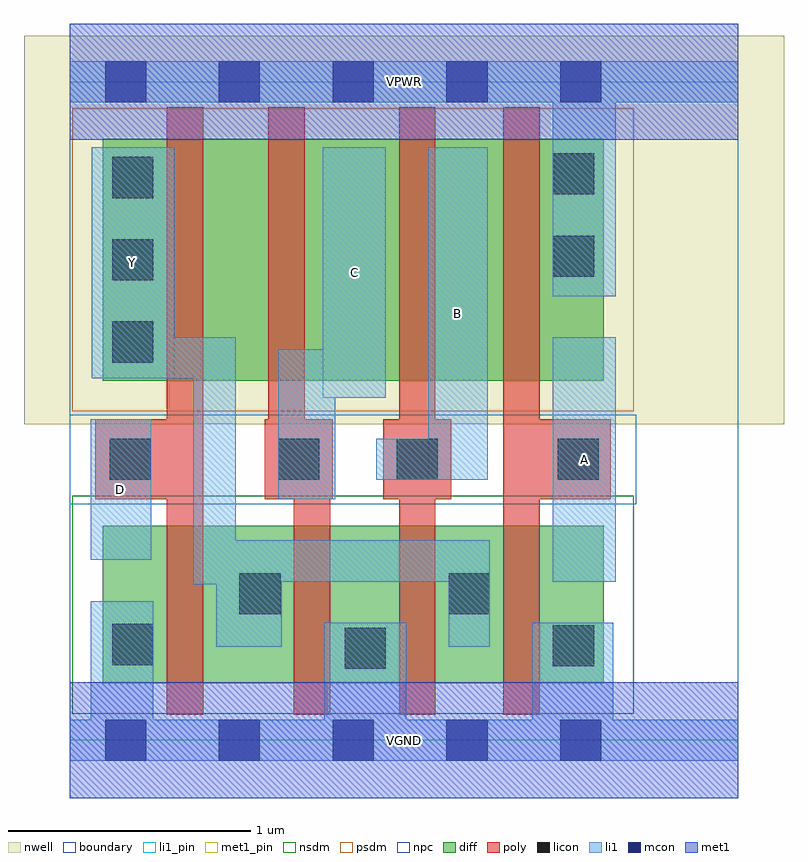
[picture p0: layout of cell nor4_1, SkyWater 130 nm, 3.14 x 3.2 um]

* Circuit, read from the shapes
.subckt nor4_1 A B C D VGND VPWR Y
XM1 Y D VGND VSUBS sky130_fd_pr__nfet_01v8 w=0.65 l=0.15
XM2 VGND C Y VSUBS sky130_fd_pr__nfet_01v8 w=0.65 l=0.15
XM3 Y B VGND VSUBS sky130_fd_pr__nfet_01v8 w=0.65 l=0.15
XM4 VGND A Y VSUBS sky130_fd_pr__nfet_01v8 w=0.65 l=0.15
XM5 n1 D Y n2 sky130_fd_pr__pfet_01v8 w=1 l=0.15
XM6 n3 C n1 n2 sky130_fd_pr__pfet_01v8 w=1 l=0.15
XM7 n4 B n3 n2 sky130_fd_pr__pfet_01v8 w=1 l=0.15
XM8 VPWR A n4 n2 sky130_fd_pr__pfet_01v8 w=1 l=0.15
.ends

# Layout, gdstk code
import gdstk
lib = gdstk.Library(unit=1e-6, precision=1e-09)
def R(c, l, rs):  # rectangles x0, y0, x1, y1
    for r in rs: c.add(gdstk.rectangle(r[:2], r[2:], *l))
def A(c, l, x, y, w, h, nx, ny, dx, dy):  # array of equal rectangles
    R(c, l, [(x+i*dx, y+j*dy, x+i*dx+w, y+j*dy+h) for i in range(nx) for j in range(ny)])
nwell = (64, 20)
diff = (65, 20)
poly = (66, 20)
licon = (66, 44)
li1_pin = (67, 16)
li1 = (67, 20)
mcon = (67, 44)
met1_pin = (68, 16)
met1 = (68, 20)
nsdm = (93, 44)
psdm = (94, 20)
npc = (95, 20)
boundary = (235, 4)

nor4_1 = lib.new_cell('nor4_1')
R(nor4_1, nwell, [(-0.19,1.305,2.95,2.91), (0,1.305,2.76,2.91)])
R(nor4_1, diff, [(0.135,0.235,2.205,0.885), (0.135,1.485,2.205,2.485)])
R(nor4_1, poly, [(0.4,0.105,0.55,2.615), (0.925,0.105,1.075,1.325), (1.36,0.105,1.51,2.615), (1.79,0.105,1.94,2.615), (0.105,0.995,0.55,1.325), (0.805,0.995,1.085,1.325), (0.82,0.995,0.97,2.615), (1.295,0.995,1.575,1.325), (1.79,0.995,2.235,1.325)])
A(nor4_1, licon, 0.175, 1.56, 0.17, 0.17, 1, 3, 0, 0.34)
R(nor4_1, licon, [(1.135,0.295,1.305,0.465), (1.995,0.305,2.165,0.475), (0.175,0.31,0.345,0.48), (0.7,0.52,0.87,0.69), (1.565,0.52,1.735,0.69), (0.165,1.075,0.335,1.245), (0.86,1.075,1.03,1.245), (1.35,1.075,1.52,1.245), (2.015,1.075,2.185,1.245), (1.995,1.915,2.165,2.085), (1.995,2.255,2.165,2.425)])
R(nor4_1, li1_pin, [(1.995,0.655,2.255,1.665), (0.085,0.745,0.335,1.325), (1.48,1.075,1.725,2.45), (1.045,1.415,1.305,2.45), (0.09,1.495,0.43,2.45)])
R(nor4_1, li1, [(0,-0.085,2.76,0.085), (0.085,-0.085,0.345,0.575), (1.05,-0.085,1.39,0.485), (1.91,-0.085,2.245,0.485), (0.605,0.385,0.875,0.825), (1.565,0.385,1.735,0.825), (0.51,0.645,0.685,1.665), (0.51,0.655,1.735,0.825), (1.995,0.655,2.255,1.665), (0.085,0.745,0.335,1.325), (0.86,0.995,1.095,1.615), (1.265,1.075,1.725,1.245), (1.48,1.075,1.725,2.45), (1.045,1.415,1.305,2.45), (0.09,1.495,0.43,2.45), (0.09,1.495,0.685,1.665), (1.995,1.835,2.255,2.805), (0,2.635,2.76,2.805)])
A(nor4_1, mcon, 0.145, -0.085, 0.17, 0.17, 5, 2, 0.47, 2.72)
R(nor4_1, met1_pin, [(0,-0.24,2.76,0.24), (0,2.48,2.76,2.96)])
R(nor4_1, met1, [(0,-0.24,2.76,0.24), (0,2.48,2.76,2.96)])
R(nor4_1, nsdm, [(0.01,0.11,2.33,1.01)])
R(nor4_1, psdm, [(0.01,1.36,2.33,2.61)])
R(nor4_1, npc, [(0,0.975,2.34,1.345)])
R(nor4_1, boundary, [(0,0,2.76,2.72)])
nor4_1.add(gdstk.Label('A', (2.125,1.16), layer=67, texttype=5))
nor4_1.add(gdstk.Label('B', (1.602,1.762), layer=67, texttype=5))
nor4_1.add(gdstk.Label('C', (1.175,1.932), layer=67, texttype=5))
nor4_1.add(gdstk.Label('D', (0.21,1.035), layer=67, texttype=5))
nor4_1.add(gdstk.Label('Y', (0.26,1.972), layer=67, texttype=5))
nor4_1.add(gdstk.Label('VPWR', (1.38,2.72), layer=68, texttype=5))
nor4_1.add(gdstk.Label('VGND', (1.38,0), layer=68, texttype=5))
nor4_1.add(gdstk.Label('A', (2.125,1.16), layer=67, texttype=16))
nor4_1.add(gdstk.Label('B', (1.602,1.762), layer=67, texttype=16))
nor4_1.add(gdstk.Label('C', (1.175,1.932), layer=67, texttype=16))
nor4_1.add(gdstk.Label('D', (0.21,1.035), layer=67, texttype=16))
nor4_1.add(gdstk.Label('Y', (0.26,1.972), layer=67, texttype=16))
nor4_1.add(gdstk.Label('VPWR', (1.38,2.72), layer=68, texttype=16))
nor4_1.add(gdstk.Label('VGND', (1.38,0), layer=68, texttype=16))

lib.write_gds('nor4_1.gds')
